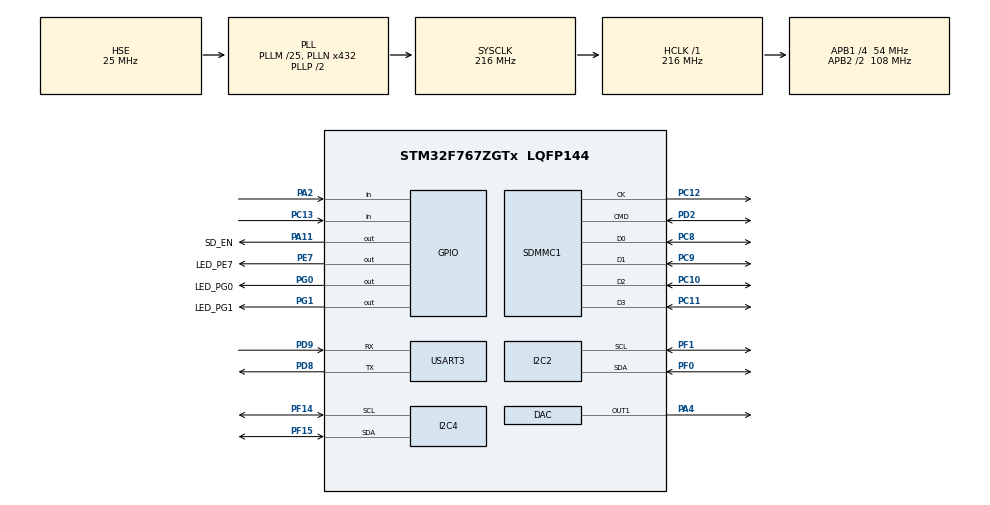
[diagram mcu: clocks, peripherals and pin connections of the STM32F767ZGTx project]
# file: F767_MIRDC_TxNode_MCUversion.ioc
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CORTEX_M7.default_mode_Activation=1
DAC.DAC_Trigger=DAC_TRIGGER_T6_TRGO
Dma.DAC1.0.Direction=DMA_MEMORY_TO_PERIPH
Dma.DAC1.0.FIFOMode=DMA_FIFOMODE_DISABLE
Dma.DAC1.0.Instance=DMA1_Stream5
Dma.DAC1.0.MemDataAlignment=DMA_MDATAALIGN_HALFWORD
Dma.DAC1.0.MemInc=DMA_MINC_ENABLE
Dma.DAC1.0.Mode=DMA_CIRCULAR
Dma.DAC1.0.PeriphDataAlignment=DMA_PDATAALIGN_HALFWORD
Dma.DAC1.0.PeriphInc=DMA_PINC_DISABLE
Dma.DAC1.0.Priority=DMA_PRIORITY_HIGH
Dma.Request0=DAC1
I2C2.Timing=0x20404768
I2C4.Timing=0x20404768
Mcu.Family=STM32F7
Mcu.Name=STM32F767ZGTx
Mcu.Package=LQFP144
NVIC.DMA1_Stream5_IRQn=true\:5\:0\:true\:false\:true\:false\:true\:true
NVIC.PriorityGroup=NVIC_PRIORITYGROUP_4
NVIC.SDMMC1_IRQn=true\:6\:0\:true\:false\:true\:true\:true\:true
PA11.GPIO_Label=SD_EN
PA11.Signal=GPIO_Output
PA13.Mode=Serial_Wire
PA13.Signal=SYS_JTMS-SWDIO
PA14.Mode=Serial_Wire
PA14.Signal=SYS_JTCK-SWCLK
PA2.Signal=GPIO_Input
PA4.Signal=COMP_DAC1_group
PC10.Mode=SD_4_bits_Wide_bus
PC10.Signal=SDMMC1_D2
PC11.Mode=SD_4_bits_Wide_bus
PC11.Signal=SDMMC1_D3
PC12.Mode=SD_4_bits_Wide_bus
PC12.Signal=SDMMC1_CK
PC13.Signal=GPIO_Input
PC8.Mode=SD_4_bits_Wide_bus
PC8.Signal=SDMMC1_D0
PC9.Mode=SD_4_bits_Wide_bus
PC9.Signal=SDMMC1_D1
PD2.Mode=SD_4_bits_Wide_bus
PD2.Signal=SDMMC1_CMD
PD8.Mode=Asynchronous
PD8.Signal=USART3_TX
PD9.Mode=Asynchronous
PD9.Signal=USART3_RX
PE7.GPIO_Label=LED_PE7
PE7.Signal=GPIO_Output
PF0.Mode=I2C
PF0.Signal=I2C2_SDA
PF1.Mode=I2C
PF1.Signal=I2C2_SCL
PF14.Mode=I2C
PF14.Signal=I2C4_SCL
PF15.Mode=I2C
PF15.Signal=I2C4_SDA
PG0.GPIO_Label=LED_PG0
PG0.Signal=GPIO_Output
PG1.GPIO_Label=LED_PG1
PG1.Signal=GPIO_Output
PH0/OSC_IN.Mode=HSE-External-Oscillator
PH0/OSC_IN.Signal=RCC_OSC_IN
PH1/OSC_OUT.Mode=HSE-External-Oscillator
PH1/OSC_OUT.Signal=RCC_OSC_OUT
ProjectManager.HeapSize=0x200
ProjectManager.StackSize=0x400
ProjectManager.TargetToolchain=STM32CubeIDE
RCC.AHBFreq_Value=216000000
RCC.APB1CLKDivider=RCC_HCLK_DIV4
RCC.APB1Freq_Value=54000000
RCC.APB1TimFreq_Value=108000000
RCC.APB2CLKDivider=RCC_HCLK_DIV2
RCC.APB2Freq_Value=108000000
RCC.APB2TimFreq_Value=216000000
RCC.CortexFreq_Value=216000000
RCC.HCLKFreq_Value=216000000
RCC.HSE_VALUE=25000000
RCC.HSI_VALUE=16000000
RCC.LSE_VALUE=32768
RCC.PLLM=25
RCC.PLLN=432
RCC.PLLQ=9
RCC.PLLSourceVirtual=RCC_PLLSOURCE_HSE
RCC.SDMMCClockSelection=RCC_SDMMC1CLKSOURCE_CLK48
RCC.SYSCLKFreq_VALUE=216000000
RCC.SYSCLKSource=RCC_SYSCLKSOURCE_PLLCLK
RCC.USBFreq_Value=48000000
RCC.VCOOutputFreq_Value=432000000
SH.COMP_DAC1_group.0=DAC_OUT1,DAC_OUT1
TIM6.Period=561
TIM6.TIM_MasterOutputTrigger=TIM_TRGO_UPDATE
USART3.VirtualMode-Asynchronous=VM_ASYNC
VP_FATFS_VS_SDIO.Mode=SDIO
VP_TIM6_VS_ClockSourceINT.Mode=Enable_Timer
board=custom

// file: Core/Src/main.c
/* USER CODE BEGIN Header */
/* F767_MIRDC_TxNode_MCUVersion */
/**
  ******************************************************************************
  * @file           : main.c
  * @brief          : Main program body
  ******************************************************************************
  * @attention
  *
  * Copyright (c) 2026 STMicroelectronics.
  * All rights reserved.
  *
  * This software is licensed under terms that can be found in the LICENSE file
  * in the root directory of this software component.
  * If no LICENSE file comes with this software, it is provided AS-IS.
  *
  ******************************************************************************
  */
/* USER CODE END Header */
#include "main.h"
#include "fatfs.h"

/* USER CODE BEGIN Includes */
#include <stdio.h>
/* USER CODE END Includes */

DAC_HandleTypeDef hdac;
DMA_HandleTypeDef hdma_dac1;

I2C_HandleTypeDef hi2c2;
I2C_HandleTypeDef hi2c4;

SD_HandleTypeDef hsd1;

TIM_HandleTypeDef htim6;

UART_HandleTypeDef huart3;

/* USER CODE BEGIN PV */
#define MPU6050_ADDR  (0x69 << 1)

static uint8_t mpu_ready = 0;

#define BQ76942_ADDR  (0x08 << 1)
/* USER CODE END PV */

void SystemClock_Config(void);
static void MPU_Config(void);
static void MX_GPIO_Init(void);
static void MX_DMA_Init(void);
static void MX_DAC_Init(void);
static void MX_I2C2_Init(void);
static void MX_I2C4_Init(void);
static void MX_SDMMC1_SD_Init(void);
static void MX_TIM6_Init(void);
static void MX_USART3_UART_Init(void);

/* USER CODE BEGIN 0 */
HAL_StatusTypeDef MPU6050_Init(void)
{
  uint8_t value;

  value = 0x01;

  if (HAL_I2C_Mem_Write(&hi2c4, MPU6050_ADDR, 0x6B, I2C_MEMADD_SIZE_8BIT, &value, 1, 100) != HAL_OK)
  {
    return HAL_ERROR;
  } // end if mem write 0x01 not OK

  HAL_Delay(100);

  // Digital Low-pass filter
  value = 0x03;
  if (HAL_I2C_Mem_Write(&hi2c4, MPU6050_ADDR, 0x1A, I2C_MEMADD_SIZE_8BIT, &value, 1, 100) != HAL_OK)
  {
    return HAL_ERROR;
  } // end if mem write 0x03 not OK

  HAL_Delay(100);

  // Gyro
  value = 0x00;
  if (HAL_I2C_Mem_Write(&hi2c4, MPU6050_ADDR, 0x1B, I2C_MEMADD_SIZE_8BIT, &value, 1, 100) != HAL_OK)
  {
    return HAL_ERROR;
  } // return if mem write gyro value not ok

  HAL_Delay(100);

  // ACC
  value = 0x00;
  if (HAL_I2C_Mem_Write(&hi2c4, MPU6050_ADDR, 0x1C, I2C_MEMADD_SIZE_8BIT, &value, 1, 100) != HAL_OK)
  {
    return HAL_ERROR;
  } // return if mem write gyro value not ok

  return HAL_OK;
} // end function MPU6050_Init

HAL_StatusTypeDef MPU6050_Read(float accel[3], float gyro[3], float *temperature)
{
  uint8_t data[14];

  HAL_StatusTypeDef status = HAL_I2C_Mem_Read(&hi2c4, MPU6050_ADDR, 0x3B, I2C_MEMADD_SIZE_8BIT, data, 14, 100);

  if (status != HAL_OK)
  {
    return status;
  } // end if status not ok

  int16_t ax = (int16_t)((data[0] << 8) | data[1]);
  int16_t ay = (int16_t)((data[2] << 8) | data[3]);
  int16_t az = (int16_t)((data[4] << 8) | data[5]);

  int16_t temp = (int16_t)((data[6] << 8) | data[7]);

  int16_t gx = (int16_t)((data[8] << 8) | data[9]);
  int16_t gy = (int16_t)((data[10] << 8) | data[11]);
  int16_t gz = (int16_t)((data[12] << 8) | data[13]);

  accel[0] = ax / 16384.0f;
  accel[1] = ay / 16384.0f;
  accel[2] = az / 16384.0f;

  gyro[0] = gx / 131.0f;
  gyro[1] = gy / 131.0f;
  gyro[2] = gz / 131.0f;

  *temperature = temp / 340.f + 36.53f;

  return HAL_OK;
} // end function MPU6050_Read

HAL_StatusTypeDef BQ76942_Read16(uint16_t command, uint16_t *value)
{
  uint8_t data[2];

  HAL_StatusTypeDef status = HAL_I2C_Mem_Read(&hi2c2, BQ76942_ADDR, command, I2C_MEMADD_SIZE_8BIT, data, 2, 100);

  if (status != HAL_OK)
  {
    return status;
  } // end if ok

  // use little-edian data
  *value = (uint16_t)data[0] | ((uint16_t)data[1] << 8);

  return HAL_OK;
} // end function BQ76942_Read16

HAL_StatusTypeDef BQ76942_Raw(uint8_t command, uint8_t data[2])
{
  return HAL_I2C_Mem_Read(&hi2c2, BQ76942_ADDR, command, I2C_MEMADD_SIZE_8BIT, data, 2, 100);
} // end function BQ76942_Raw

static uint8_t BQ76942_CRC8(const uint8_t *data, uint8_t len)
{
  uint8_t crc = 0x00;

  for (uint8_t i = 0; i < len; i++)
  {
    crc ^= data[i];

    for (uint8_t bit = 0; bit < 8; bit++)
    {
      if (crc & 0x80)
        crc = (uint8_t)((crc << 1) ^ 0x07);
      else
        crc = (uint8_t)(crc << 1);
    } // end for
  } // end for

  return crc;
} // end function BQ76942_CRC8

HAL_StatusTypeDef BQ76942_ReadCRC(
    uint8_t command,
    uint8_t *data,
    uint8_t data_len)
{
  if (data == NULL || data_len == 0 || data_len > 16)
    return HAL_ERROR;

  uint8_t rx[32] = {0};

  HAL_StatusTypeDef status = HAL_I2C_Mem_Read(
    &hi2c2,
    BQ76942_ADDR,
    command,
    I2C_MEMADD_SIZE_8BIT,
    rx,
    (uint16_t)(data_len * 2),
    100
  );

  if (status != HAL_OK)
    return status;

  for (uint8_t i = 0; i < data_len; i++)
  {
    uint8_t expected_crc;

    if (i == 0)
    {
      uint8_t crc_input[4] = {
        (uint8_t)BQ76942_ADDR,
        command,
        (uint8_t)(BQ76942_ADDR | 0x01),
        rx[0]
      };

      expected_crc = BQ76942_CRC8(crc_input, 4);
    }
    else
    {
      expected_crc = BQ76942_CRC8(&rx[i * 2], 1);
    }

    if (expected_crc != rx[i * 2 + 1])
      return HAL_ERROR;
  }

  for (uint8_t i = 0; i < data_len; i++)
    data[i] = rx[i * 2];

  return HAL_OK;
}
/* USER CODE END 0 */

int main(void)
{

  /* MPU Configuration--------------------------------------------------------*/
  MPU_Config();

  /* MCU Configuration--------------------------------------------------------*/

  /* Reset of all peripherals, Initializes the Flash interface and the Systick. */
  HAL_Init();

  /* USER CODE BEGIN Init */

  /* New Version PCB SD card power control */
  HAL_GPIO_WritePin(SD_EN_GPIO_Port, SD_EN_Pin, GPIO_PIN_SET);
  HAL_Delay(100);

  /* USER CODE END Init */

  /* Configure the system clock */
  SystemClock_Config();

  /* Initialize all configured peripherals */
  MX_GPIO_Init();
  MX_DMA_Init();
  MX_DAC_Init();
  MX_I2C2_Init();
  MX_I2C4_Init();
  MX_SDMMC1_SD_Init();
  MX_TIM6_Init();
  MX_USART3_UART_Init();
  MX_FATFS_Init();
  /* USER CODE BEGIN 2 */

  // USART3 Start  up test
  const char uart_msg[] = "STM32F767 PCB Boot OK\r\n";

  HAL_UART_Transmit(&huart3, (uint8_t *)uart_msg, sizeof(uart_msg) - 1, HAL_MAX_DELAY);

  // MPU6050 start up
  mpu_ready = (MPU6050_Init() == HAL_OK);
  const char *mpu_msg = mpu_ready ? "[MPU] Initialization OK\r\n" : "[MPU] Initialization FAILED\r\n";

  HAL_UART_Transmit(&huart3, (uint8_t *)mpu_msg, strlen(mpu_msg), 100);
  /* USER CODE END 2 */

  /* Infinite loop */
  while (1)
  {

    /* USER CODE BEGIN 3 */
    HAL_GPIO_TogglePin(LED_PG0_GPIO_Port, LED_PG0_Pin);

    const char test_msg[] = "System Running\r\n";

    HAL_UART_Transmit(&huart3, (uint8_t *)test_msg, sizeof(test_msg) - 1, 100);

    HAL_Delay(100);

    // print out
    if (mpu_ready)
    {
      float accel[3];
      float gyro[3];
      float temperature;

      if (MPU6050_Read(accel, gyro, &temperature) == HAL_OK)
      {
        char val_msg[256];

        snprintf(val_msg, sizeof(val_msg), "[MPU] ACC: X=%.2f,Y=%.2f,Z=%.2f g | GYRO: X=%.2f,Y=%.2f,Z=%.2f g | TEMP=%.2f C\r\n", accel[0], accel[1], accel[2], gyro[0], gyro[1], gyro[2], temperature);

        HAL_UART_Transmit(&huart3, (uint8_t *)val_msg, strlen(val_msg), 100);
      } // end read MPU6050
      else
      {
        const char err[] = "[MPU] Read FAILED\r\n";
        HAL_UART_Transmit(&huart3, (uint8_t *)err, sizeof(err) - 1, 100);
      } // end else
    } // end if mpu ready

    // BQ
    HAL_StatusTypeDef bq_status;

    bq_status = HAL_I2C_IsDeviceReady(&hi2c2, BQ76942_ADDR, 3, 100);

    char bq_msg[128];

    for (uint8_t cell = 0; cell < 7; cell++)
    {
        uint8_t command = 0x14 + cell * 2;
        uint8_t data[2] = {0};

        HAL_StatusTypeDef status =
            BQ76942_ReadCRC(command, data, 2);

        if (status == HAL_OK)
        {
            int16_t voltage_mv =
                (int16_t)((uint16_t)data[0] |
                          ((uint16_t)data[1] << 8));

            snprintf(
                bq_msg,
                sizeof(bq_msg),
                "[BQ76942] Cell %u = %d mV\r\n",
                (unsigned int)(cell + 1),
                (int)voltage_mv
            );
        }
        else
        {
            snprintf(
                bq_msg,
                sizeof(bq_msg),
                "[BQ76942] Cell %u READ/CRC FAILED\r\n",
                (unsigned int)(cell + 1)
            );
        }

        HAL_UART_Transmit(
            &huart3,
            (uint8_t *)bq_msg,
            strlen(bq_msg),
            100
        );
    }

    // battery status

    uint8_t stack_data[2] = {0};
    uint8_t pack_data[2] = {0};
    uint8_t current_data[2] = {0};
    uint8_t safety_a = 0;

    HAL_StatusTypeDef s_stack =
        BQ76942_ReadCRC(0x34, stack_data, 2);

    HAL_StatusTypeDef s_pack =
        BQ76942_ReadCRC(0x36, pack_data, 2);

    HAL_StatusTypeDef s_current =
        BQ76942_ReadCRC(0x3A, current_data, 2);

    HAL_StatusTypeDef s_safety =
        BQ76942_ReadCRC(0x03, &safety_a, 1);

    char bq_status_msg[200];

    if (s_stack == HAL_OK &&
        s_pack == HAL_OK &&
        s_current == HAL_OK &&
        s_safety == HAL_OK)
    {
        uint16_t stack_raw =
            (uint16_t)stack_data[0] |
            ((uint16_t)stack_data[1] << 8);

        uint16_t pack_raw =
            (uint16_t)pack_data[0] |
            ((uint16_t)pack_data[1] << 8);

        int16_t current_raw =
            (int16_t)(
                (uint16_t)current_data[0] |
                ((uint16_t)current_data[1] << 8)
            );

        float stack_v = stack_raw * 0.01f;
        float pack_v = pack_raw * 0.01f;

        snprintf(
            bq_status_msg,
            sizeof(bq_status_msg),
            "[BQ76942] Stack=%.2f V | Pack=%.2f V | "
            "CurrentRaw=%d | SafetyA=0x%02X\r\n",
            stack_v,
            pack_v,
            (int)current_raw,
            (unsigned int)safety_a
        );
    }
    else
    {
        snprintf(
            bq_status_msg,
            sizeof(bq_status_msg),
            "[BQ76942] READ/CRC FAILED: "
            "Stack=%d Pack=%d Current=%d Safety=%d\r\n",
            (int)s_stack,
            (int)s_pack,
            (int)s_current,
            (int)s_safety
        );
    }

    HAL_UART_Transmit(
        &huart3,
        (uint8_t *)bq_status_msg,
        strlen(bq_status_msg),
        100
    );

    HAL_Delay(100);

    // raw data diagnostic
    const uint8_t commands[] = {0x14, 0x16, 0x18, 0x1A, 0x1C, 0x1E, 0x20, 0x22, 0x24, 0x26, 0x34, 0x36};

    char diag_msg[128];

    for (uint8_t i=0; i<sizeof(commands); i++)
    {
      uint8_t data[2] = {0};

      HAL_StatusTypeDef status = HAL_I2C_Mem_Read(&hi2c2, BQ76942_ADDR, commands[i], I2C_MEMADD_SIZE_8BIT, data, 2, 100);

      if (status == HAL_OK)
      {
        uint16_t raw = (uint16_t)data[0] | ((uint16_t)data[1] << 8);

        snprintf(diag_msg, sizeof(diag_msg), "[BQ] CMD=0x%02X RAW=%02X %02X VALUE=%u\r\n", commands[i], data[0], data[1], raw);
      } // end if
      else
      {
        snprintf(diag_msg, sizeof(diag_msg), "[BQ] CMD=0x%02X READ FAILED, error=0x%08lX\r\n", commands[i], (unsigned long)HAL_I2C_GetError(&hi2c2));
      } // end else

      HAL_UART_Transmit(&huart3, (uint8_t *)diag_msg, strlen(diag_msg), 100);

      HAL_Delay(20);
    } // end for

    uint8_t mem_data[2] = {0};
    uint8_t tx_cmd = 0x14;
    uint8_t rx_data[2] = {0};

    HAL_StatusTypeDef s_mem = HAL_I2C_Mem_Read(&hi2c2, BQ76942_ADDR, 0x14, I2C_MEMADD_SIZE_8BIT, mem_data, 2, 100);
    HAL_StatusTypeDef s_tx = HAL_I2C_Master_Transmit(&hi2c2, BQ76942_ADDR, &tx_cmd, 1, 100);
    HAL_StatusTypeDef s_rx = HAL_ERROR;

    if (s_tx == HAL_OK)
    {
      s_rx = HAL_I2C_Master_Receive(&hi2c2, BQ76942_ADDR, rx_data, 2, 100);
    } // end if s_tx OK

    char bq_compare_msg[160];

    snprintf(bq_compare_msg, sizeof(bq_compare_msg), "[BQ TEST] MEM=%d RAW=%02X %02X | TX=%d RX=%d RAW=%02X %02x\r\n", (int)s_mem, mem_data[0], mem_data[1], (int)s_tx, (int)s_rx, rx_data[0], rx_data[1]);

    HAL_UART_Transmit(&huart3, (uint8_t *)bq_compare_msg, strlen(bq_compare_msg), 100);
    // delay after all

    uint8_t bq_data[4] = {0};
    HAL_StatusTypeDef status = HAL_I2C_Mem_Read(&hi2c2, BQ76942_ADDR, 0x14, I2C_MEMADD_SIZE_8BIT, bq_data, 4, 100);

    char msg[128];

    snprintf(msg, sizeof(msg), "[BQ CRC] status=%d RAW=%02X %02X %02X %02X\r\n", (int)status, bq_data[0], bq_data[1], bq_data[2], bq_data[3]);

    HAL_UART_Transmit(&huart3, (uint8_t *)msg, strlen(msg), 100);

    HAL_Delay(1000);
  }

  uint8_t fet_status = 0;
  uint8_t safety_a = 0;
  uint8_t safety_b = 0;
  uint8_t safety_c = 0;

  HAL_StatusTypeDef s_fet =
      BQ76942_ReadCRC(0x7F, &fet_status, 1);

  HAL_StatusTypeDef s_a =
      BQ76942_ReadCRC(0x03, &safety_a, 1);

  HAL_StatusTypeDef s_b =
      BQ76942_ReadCRC(0x05, &safety_b, 1);

  HAL_StatusTypeDef s_c =
      BQ76942_ReadCRC(0x07, &safety_c, 1);

  char bq_fet_msg[160];

  snprintf(
      bq_fet_msg,
      sizeof(bq_fet_msg),
      "[BQ STATUS] FET=%d:0x%02X | "
      "SafetyA=%d:0x%02X | "
      "SafetyB=%d:0x%02X | "
      "SafetyC=%d:0x%02X\r\n",
      (int)s_fet, fet_status,
      (int)s_a, safety_a,
      (int)s_b, safety_b,
      (int)s_c, safety_c
  );

  HAL_UART_Transmit(
      &huart3,
      (uint8_t *)bq_fet_msg,
      strlen(bq_fet_msg),
      100
  );

  /* USER CODE END 3 */
}

void SystemClock_Config(void)
{
  RCC_OscInitTypeDef RCC_OscInitStruct = {0};
  RCC_ClkInitTypeDef RCC_ClkInitStruct = {0};

  /** Configure the main internal regulator output voltage
  */
  __HAL_RCC_PWR_CLK_ENABLE();
  __HAL_PWR_VOLTAGESCALING_CONFIG(PWR_REGULATOR_VOLTAGE_SCALE1);

  /** Initializes the RCC Oscillators according to the specified parameters
  * in the RCC_OscInitTypeDef structure.
  */
  RCC_OscInitStruct.OscillatorType = RCC_OSCILLATORTYPE_HSE;
  RCC_OscInitStruct.HSEState = RCC_HSE_ON;
  RCC_OscInitStruct.PLL.PLLState = RCC_PLL_ON;
  RCC_OscInitStruct.PLL.PLLSource = RCC_PLLSOURCE_HSE;
  RCC_OscInitStruct.PLL.PLLM = 25;
  RCC_OscInitStruct.PLL.PLLN = 432;
  RCC_OscInitStruct.PLL.PLLP = RCC_PLLP_DIV2;
  RCC_OscInitStruct.PLL.PLLQ = 9;
  RCC_OscInitStruct.PLL.PLLR = 2;
  if (HAL_RCC_OscConfig(&RCC_OscInitStruct) != HAL_OK)
  {
    Error_Handler();
  }

  /** Activate the Over-Drive mode
  */
  if (HAL_PWREx_EnableOverDrive() != HAL_OK)
  {
    Error_Handler();
  }

  /** Initializes the CPU, AHB and APB buses clocks
  */
  RCC_ClkInitStruct.ClockType = RCC_CLOCKTYPE_HCLK|RCC_CLOCKTYPE_SYSCLK
                              |RCC_CLOCKTYPE_PCLK1|RCC_CLOCKTYPE_PCLK2;
  RCC_ClkInitStruct.SYSCLKSource = RCC_SYSCLKSOURCE_PLLCLK;
  RCC_ClkInitStruct.AHBCLKDivider = RCC_SYSCLK_DIV1;
  RCC_ClkInitStruct.APB1CLKDivider = RCC_HCLK_DIV4;
  RCC_ClkInitStruct.APB2CLKDivider = RCC_HCLK_DIV2;

  if (HAL_RCC_ClockConfig(&RCC_ClkInitStruct, FLASH_LATENCY_7) != HAL_OK)
  {
    Error_Handler();
  }
}

static void MX_DAC_Init(void)
{

  DAC_ChannelConfTypeDef sConfig = {0};

  /** DAC Initialization
  */
  hdac.Instance = DAC;
  if (HAL_DAC_Init(&hdac) != HAL_OK)
  {
    Error_Handler();
  }

  /** DAC channel OUT1 config
  */
  sConfig.DAC_Trigger = DAC_TRIGGER_T6_TRGO;
  sConfig.DAC_OutputBuffer = DAC_OUTPUTBUFFER_ENABLE;
  if (HAL_DAC_ConfigChannel(&hdac, &sConfig, DAC_CHANNEL_1) != HAL_OK)
  {
    Error_Handler();
  }

}

static void MX_I2C2_Init(void)
{

  hi2c2.Instance = I2C2;
  hi2c2.Init.Timing = 0x20404768;
  hi2c2.Init.OwnAddress1 = 0;
  hi2c2.Init.AddressingMode = I2C_ADDRESSINGMODE_7BIT;
  hi2c2.Init.DualAddressMode = I2C_DUALADDRESS_DISABLE;
  hi2c2.Init.OwnAddress2 = 0;
  hi2c2.Init.OwnAddress2Masks = I2C_OA2_NOMASK;
  hi2c2.Init.GeneralCallMode = I2C_GENERALCALL_DISABLE;
  hi2c2.Init.NoStretchMode = I2C_NOSTRETCH_DISABLE;
  if (HAL_I2C_Init(&hi2c2) != HAL_OK)
  {
    Error_Handler();
  }

  /** Configure Analogue filter
  */
  if (HAL_I2CEx_ConfigAnalogFilter(&hi2c2, I2C_ANALOGFILTER_ENABLE) != HAL_OK)
  {
    Error_Handler();
  }

  /** Configure Digital filter
  */
  if (HAL_I2CEx_ConfigDigitalFilter(&hi2c2, 0) != HAL_OK)
  {
    Error_Handler();
  }

}

static void MX_I2C4_Init(void)
{

  hi2c4.Instance = I2C4;
  hi2c4.Init.Timing = 0x20404768;
  hi2c4.Init.OwnAddress1 = 0;
  hi2c4.Init.AddressingMode = I2C_ADDRESSINGMODE_7BIT;
  hi2c4.Init.DualAddressMode = I2C_DUALADDRESS_DISABLE;
  hi2c4.Init.OwnAddress2 = 0;
  hi2c4.Init.OwnAddress2Masks = I2C_OA2_NOMASK;
  hi2c4.Init.GeneralCallMode = I2C_GENERALCALL_DISABLE;
  hi2c4.Init.NoStretchMode = I2C_NOSTRETCH_DISABLE;
  if (HAL_I2C_Init(&hi2c4) != HAL_OK)
  {
    Error_Handler();
  }

  /** Configure Analogue filter
  */
  if (HAL_I2CEx_ConfigAnalogFilter(&hi2c4, I2C_ANALOGFILTER_ENABLE) != HAL_OK)
  {
    Error_Handler();
  }

  /** Configure Digital filter
  */
  if (HAL_I2CEx_ConfigDigitalFilter(&hi2c4, 0) != HAL_OK)
  {
    Error_Handler();
  }

}

static void MX_SDMMC1_SD_Init(void)
{

  hsd1.Instance = SDMMC1;
  hsd1.Init.ClockEdge = SDMMC_CLOCK_EDGE_RISING;
  hsd1.Init.ClockBypass = SDMMC_CLOCK_BYPASS_DISABLE;
  hsd1.Init.ClockPowerSave = SDMMC_CLOCK_POWER_SAVE_DISABLE;
  hsd1.Init.BusWide = SDMMC_BUS_WIDE_1B;
  hsd1.Init.HardwareFlowControl = SDMMC_HARDWARE_FLOW_CONTROL_DISABLE;
  hsd1.Init.ClockDiv = 0;

}

static void MX_TIM6_Init(void)
{

  TIM_MasterConfigTypeDef sMasterConfig = {0};

  htim6.Instance = TIM6;
  htim6.Init.Prescaler = 0;
  htim6.Init.CounterMode = TIM_COUNTERMODE_UP;
  htim6.Init.Period = 561;
  htim6.Init.AutoReloadPreload = TIM_AUTORELOAD_PRELOAD_DISABLE;
  if (HAL_TIM_Base_Init(&htim6) != HAL_OK)
  {
    Error_Handler();
  }
  sMasterConfig.MasterOutputTrigger = TIM_TRGO_UPDATE;
  sMasterConfig.MasterSlaveMode = TIM_MASTERSLAVEMODE_DISABLE;
  if (HAL_TIMEx_MasterConfigSynchronization(&htim6, &sMasterConfig) != HAL_OK)
  {
    Error_Handler();
  }

}

static void MX_USART3_UART_Init(void)
{

  huart3.Instance = USART3;
  huart3.Init.BaudRate = 115200;
  huart3.Init.WordLength = UART_WORDLENGTH_8B;
  huart3.Init.StopBits = UART_STOPBITS_1;
  huart3.Init.Parity = UART_PARITY_NONE;
  huart3.Init.Mode = UART_MODE_TX_RX;
  huart3.Init.HwFlowCtl = UART_HWCONTROL_NONE;
  huart3.Init.OverSampling = UART_OVERSAMPLING_16;
  huart3.Init.OneBitSampling = UART_ONE_BIT_SAMPLE_DISABLE;
  huart3.AdvancedInit.AdvFeatureInit = UART_ADVFEATURE_NO_INIT;
  if (HAL_UART_Init(&huart3) != HAL_OK)
  {
    Error_Handler();
  }

}

static void MX_DMA_Init(void)
{

  /* DMA controller clock enable */
  __HAL_RCC_DMA1_CLK_ENABLE();

  /* DMA interrupt init */
  /* DMA1_Stream5_IRQn interrupt configuration */
  HAL_NVIC_SetPriority(DMA1_Stream5_IRQn, 5, 0);
  HAL_NVIC_EnableIRQ(DMA1_Stream5_IRQn);

}

static void MX_GPIO_Init(void)
{
  GPIO_InitTypeDef GPIO_InitStruct = {0};

  /* GPIO Ports Clock Enable */
  __HAL_RCC_GPIOC_CLK_ENABLE();
  __HAL_RCC_GPIOF_CLK_ENABLE();
  __HAL_RCC_GPIOH_CLK_ENABLE();
  __HAL_RCC_GPIOA_CLK_ENABLE();
  __HAL_RCC_GPIOG_CLK_ENABLE();
  __HAL_RCC_GPIOE_CLK_ENABLE();
  __HAL_RCC_GPIOD_CLK_ENABLE();

  /*Configure GPIO pin Output Level */
  HAL_GPIO_WritePin(GPIOG, LED_PG0_Pin|LED_PG1_Pin, GPIO_PIN_RESET);

  /*Configure GPIO pin Output Level */
  HAL_GPIO_WritePin(LED_PE7_GPIO_Port, LED_PE7_Pin, GPIO_PIN_RESET);

  /*Configure GPIO pin Output Level */
  HAL_GPIO_WritePin(SD_EN_GPIO_Port, SD_EN_Pin, GPIO_PIN_RESET);

  /*Configure GPIO pin : PC13 */
  GPIO_InitStruct.Pin = GPIO_PIN_13;
  GPIO_InitStruct.Mode = GPIO_MODE_INPUT;
  GPIO_InitStruct.Pull = GPIO_NOPULL;
  HAL_GPIO_Init(GPIOC, &GPIO_InitStruct);

  /*Configure GPIO pin : PA2 */
  GPIO_InitStruct.Pin = GPIO_PIN_2;
  GPIO_InitStruct.Mode = GPIO_MODE_INPUT;
  GPIO_InitStruct.Pull = GPIO_NOPULL;
  HAL_GPIO_Init(GPIOA, &GPIO_InitStruct);

  /*Configure GPIO pins : LED_PG0_Pin LED_PG1_Pin */
  GPIO_InitStruct.Pin = LED_PG0_Pin|LED_PG1_Pin;
  GPIO_InitStruct.Mode = GPIO_MODE_OUTPUT_PP;
  GPIO_InitStruct.Pull = GPIO_NOPULL;
  GPIO_InitStruct.Speed = GPIO_SPEED_FREQ_LOW;
  HAL_GPIO_Init(GPIOG, &GPIO_InitStruct);

  /*Configure GPIO pin : LED_PE7_Pin */
  GPIO_InitStruct.Pin = LED_PE7_Pin;
  GPIO_InitStruct.Mode = GPIO_MODE_OUTPUT_PP;
  GPIO_InitStruct.Pull = GPIO_NOPULL;
  GPIO_InitStruct.Speed = GPIO_SPEED_FREQ_LOW;
  HAL_GPIO_Init(LED_PE7_GPIO_Port, &GPIO_InitStruct);

  /*Configure GPIO pin : SD_EN_Pin */
  GPIO_InitStruct.Pin = SD_EN_Pin;
  GPIO_InitStruct.Mode = GPIO_MODE_OUTPUT_PP;
  GPIO_InitStruct.Pull = GPIO_NOPULL;
  GPIO_InitStruct.Speed = GPIO_SPEED_FREQ_LOW;
  HAL_GPIO_Init(SD_EN_GPIO_Port, &GPIO_InitStruct);

}

 /* MPU Configuration */

void MPU_Config(void)
{
  MPU_Region_InitTypeDef MPU_InitStruct = {0};

  /* Disables the MPU */
  HAL_MPU_Disable();

  /** Initializes and configures the Region and the memory to be protected
  */
  MPU_InitStruct.Enable = MPU_REGION_ENABLE;
  MPU_InitStruct.Number = MPU_REGION_NUMBER0;
  MPU_InitStruct.BaseAddress = 0x0;
  MPU_InitStruct.Size = MPU_REGION_SIZE_4GB;
  MPU_InitStruct.SubRegionDisable = 0x87;
  MPU_InitStruct.TypeExtField = MPU_TEX_LEVEL0;
  MPU_InitStruct.AccessPermission = MPU_REGION_NO_ACCESS;
  MPU_InitStruct.DisableExec = MPU_INSTRUCTION_ACCESS_DISABLE;
  MPU_InitStruct.IsShareable = MPU_ACCESS_SHAREABLE;
  MPU_InitStruct.IsCacheable = MPU_ACCESS_NOT_CACHEABLE;
  MPU_InitStruct.IsBufferable = MPU_ACCESS_NOT_BUFFERABLE;

  HAL_MPU_ConfigRegion(&MPU_InitStruct);
  /* Enables the MPU */
  HAL_MPU_Enable(MPU_PRIVILEGED_DEFAULT);

}

void Error_Handler(void)
{
  __disable_irq();
  while (1)
  {
  }
}
